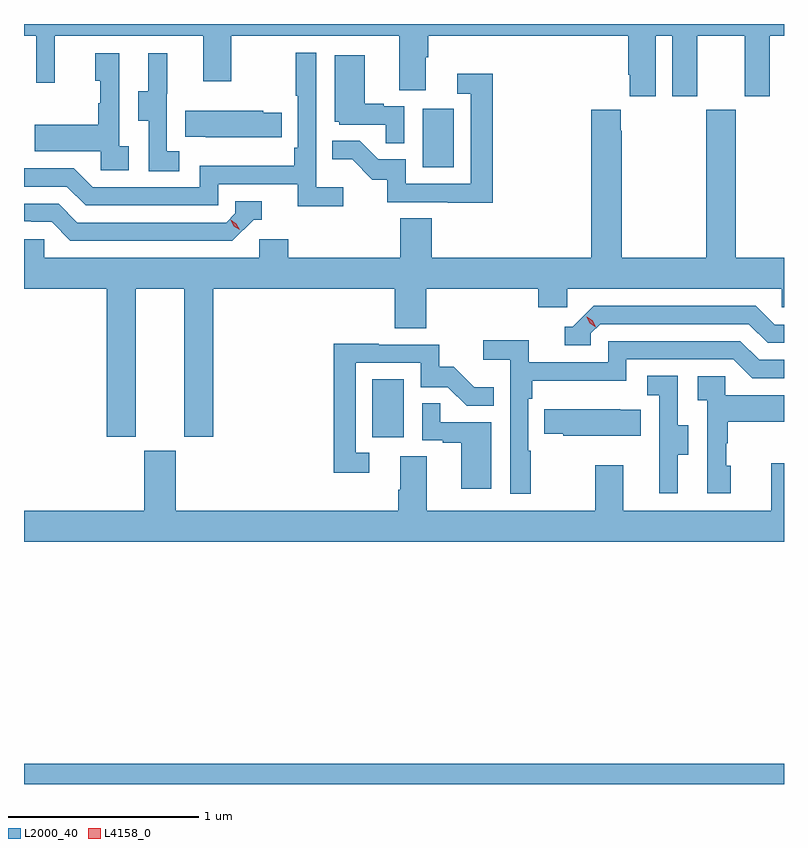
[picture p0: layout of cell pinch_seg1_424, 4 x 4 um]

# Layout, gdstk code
import gdstk
lib = gdstk.Library(unit=1e-6, precision=1e-09)
def R(c, l, rs):  # rectangles x0, y0, x1, y1
    for r in rs: c.add(gdstk.rectangle(r[:2], r[2:], *l))
def P(c, l, *ps):  # polygons
    for p in ps: c.add(gdstk.Polygon(p, *l))
L2000_40 = (2000, 40)
L4158_0 = (4158, 0)

pinch_seg1_424 = lib.new_cell('pinch_seg1_424')
R(pinch_seg1_424, L2000_40, [(948.034,530.478,952.034,530.584), (949.868,532.302,950.032,532.609), (950.132,533.724,950.296,534.031)])
P(pinch_seg1_424, L2000_40, [(951.358,534.416),(951.446,534.416),(951.446,534.099),(951.577,534.099),(951.577,534.416),(951.827,534.416),(951.827,534.099),(951.958,534.099),(951.958,534.416),(952.034,534.416),(952.034,534.478),(948.034,534.478),(948.034,534.416),(948.099,534.416),(948.099,534.168),(948.197,534.168),(948.197,534.416),(948.977,534.416),(948.977,534.177),(949.125,534.177),(949.125,534.416),(950.009,534.416),(950.009,534.13),(950.149,534.13),(950.149,534.304),(950.162,534.304),(950.162,534.416),(951.215,534.416),(951.215,534.211),(951.221,534.211),(951.221,534.099),(951.358,534.099)],
  [(949.714,533.62),(949.572,533.62),(949.572,534.328),(949.464,534.328),(949.464,534.1),(949.476,534.1),(949.476,533.827),(949.456,533.827),(949.456,533.731),(948.96,533.731),(948.96,533.619),(948.396,533.619),(948.297,533.718),(948.034,533.718),(948.034,533.622),(948.26,533.622),(948.359,533.523),(949.056,533.523),(949.056,533.634),(949.475,533.634),(949.475,533.518),(949.714,533.518)],
  [(948.586,533.834),(948.534,533.834),(948.534,534.325),(948.41,534.325),(948.41,534.18),(948.436,534.18),(948.436,534.062),(948.426,534.062),(948.426,533.947),(948.091,533.947),(948.091,533.807),(948.438,533.807),(948.438,533.709),(948.586,533.709)],
  [(948.85,533.807),(948.786,533.807),(948.786,534.111),(948.788,534.111),(948.788,534.325),(948.689,534.325),(948.689,534.123),(948.635,534.123),(948.635,533.968),(948.69,533.968),(948.69,533.704),(948.85,533.704)],
  [(950.034,534.045),(949.928,534.045),(949.928,534.058),(949.828,534.058),(949.828,534.313),(949.67,534.313),(949.67,533.964),(949.692,533.964),(949.692,533.949),(949.939,533.949),(949.939,533.851),(950.034,533.851)],
  [(950.501,534.217),(950.313,534.217),(950.313,534.111),(950.385,534.111),(950.385,533.637),(950.043,533.637),(950.043,533.766),(949.899,533.766),(949.801,533.864),(949.657,533.864),(949.657,533.765),(949.761,533.765),(949.868,533.658),(949.945,533.658),(949.945,533.541),(950.263,533.541),(950.263,533.536),(950.501,533.536)],
  [(948.622,533.084),(948.878,533.084),(948.878,532.305),(949.031,532.305),(949.031,533.084),(949.985,533.084),(949.985,532.876),(950.15,532.876),(950.15,533.084),(950.741,533.084),(950.741,532.986),(950.892,532.986),(950.892,533.084),(952.023,533.084),(952.023,532.986),(952.034,532.986),(952.034,533.248),(951.78,533.248),(951.78,534.028),(951.625,534.028),(951.625,533.248),(951.18,533.248),(951.18,533.915),(951.175,533.915),(951.175,534.028),(951.02,534.028),(951.02,533.248),(950.18,533.248),(950.18,533.456),(950.015,533.456),(950.015,533.248),(949.424,533.248),(949.424,533.346),(949.272,533.346),(949.272,533.248),(948.141,533.248),(948.141,533.346),(948.034,533.346),(948.034,533.084),(948.47,533.084),(948.47,532.305),(948.622,532.305)],
  [(949.391,534.012),(949.293,534.012),(949.293,534.022),(948.883,534.022),(948.883,533.885),(948.991,533.885),(948.991,533.882),(949.391,533.882)],
  [(949.242,533.448),(949.285,533.448),(949.285,533.544),(949.146,533.544),(949.146,533.481),(949.098,533.433),(948.315,533.433),(948.216,533.532),(948.034,533.532),(948.034,533.439),(948.072,533.439),(948.072,533.436),(948.179,533.436),(948.278,533.337),(949.131,533.337)],
  [(951.018,532.851),(951.066,532.899),(951.849,532.899),(951.948,532.8),(952.034,532.8),(952.034,532.896),(951.985,532.896),(951.886,532.995),(951.033,532.995),(950.922,532.884),(950.879,532.884),(950.879,532.788),(951.018,532.788)],
  [(950.701,532.232),(950.688,532.232),(950.688,532.505),(950.708,532.505),(950.708,532.601),(951.204,532.601),(951.204,532.713),(951.768,532.713),(951.867,532.614),(952.034,532.614),(952.034,532.71),(951.904,532.71),(951.805,532.809),(951.108,532.809),(951.108,532.698),(950.69,532.698),(950.69,532.814),(950.451,532.814),(950.451,532.712),(950.592,532.712),(950.592,532.005),(950.701,532.005)],
  [(949.852,532.221),(949.779,532.221),(949.779,532.695),(950.121,532.695),(950.121,532.566),(950.265,532.566),(950.363,532.468),(950.507,532.468),(950.507,532.567),(950.403,532.567),(950.296,532.674),(950.22,532.674),(950.22,532.791),(949.901,532.791),(949.901,532.796),(949.663,532.796),(949.663,532.116),(949.852,532.116)],
  [(951.475,532.21),(951.529,532.21),(951.529,532.365),(951.474,532.365),(951.474,532.628),(951.315,532.628),(951.315,532.525),(951.378,532.525),(951.378,532.221),(951.377,532.221),(951.377,532.008),(951.475,532.008)],
  [(951.754,532.152),(951.729,532.152),(951.729,532.271),(951.739,532.271),(951.739,532.385),(952.034,532.385),(952.034,532.525),(951.726,532.525),(951.726,532.623),(951.579,532.623),(951.579,532.499),(951.63,532.499),(951.63,532.008),(951.754,532.008)],
  [(950.494,532.383),(950.225,532.383),(950.225,532.481),(950.13,532.481),(950.13,532.287),(950.237,532.287),(950.237,532.275),(950.336,532.275),(950.336,532.032),(950.494,532.032)],
  [(951.281,532.447),(951.173,532.447),(951.173,532.45),(950.773,532.45),(950.773,532.321),(950.871,532.321),(950.871,532.31),(951.281,532.31)],
  [(952.034,532.165),(951.968,532.165),(951.968,531.916),(951.187,531.916),(951.187,532.156),(951.04,532.156),(951.04,531.916),(950.155,531.916),(950.155,532.202),(950.015,532.202),(950.015,532.028),(950.003,532.028),(950.003,531.916),(948.832,531.916),(948.832,532.233),(948.668,532.233),(948.668,531.916),(948.034,531.916),(948.034,531.752),(952.034,531.752)])
P(pinch_seg1_424, L4158_0, [(951.041,532.885),(951.011,532.904),(950.995,532.937),(950.995,532.937),(950.995,532.937),(951.026,532.918),(951.042,532.885),(951.042,532.885)],
  [(949.169,533.395),(949.138,533.414),(949.121,533.446),(949.121,533.447),(949.122,533.447),(949.152,533.427),(949.169,533.395),(949.169,533.395)])

lib.write_gds('pinch_seg1_424.gds')
